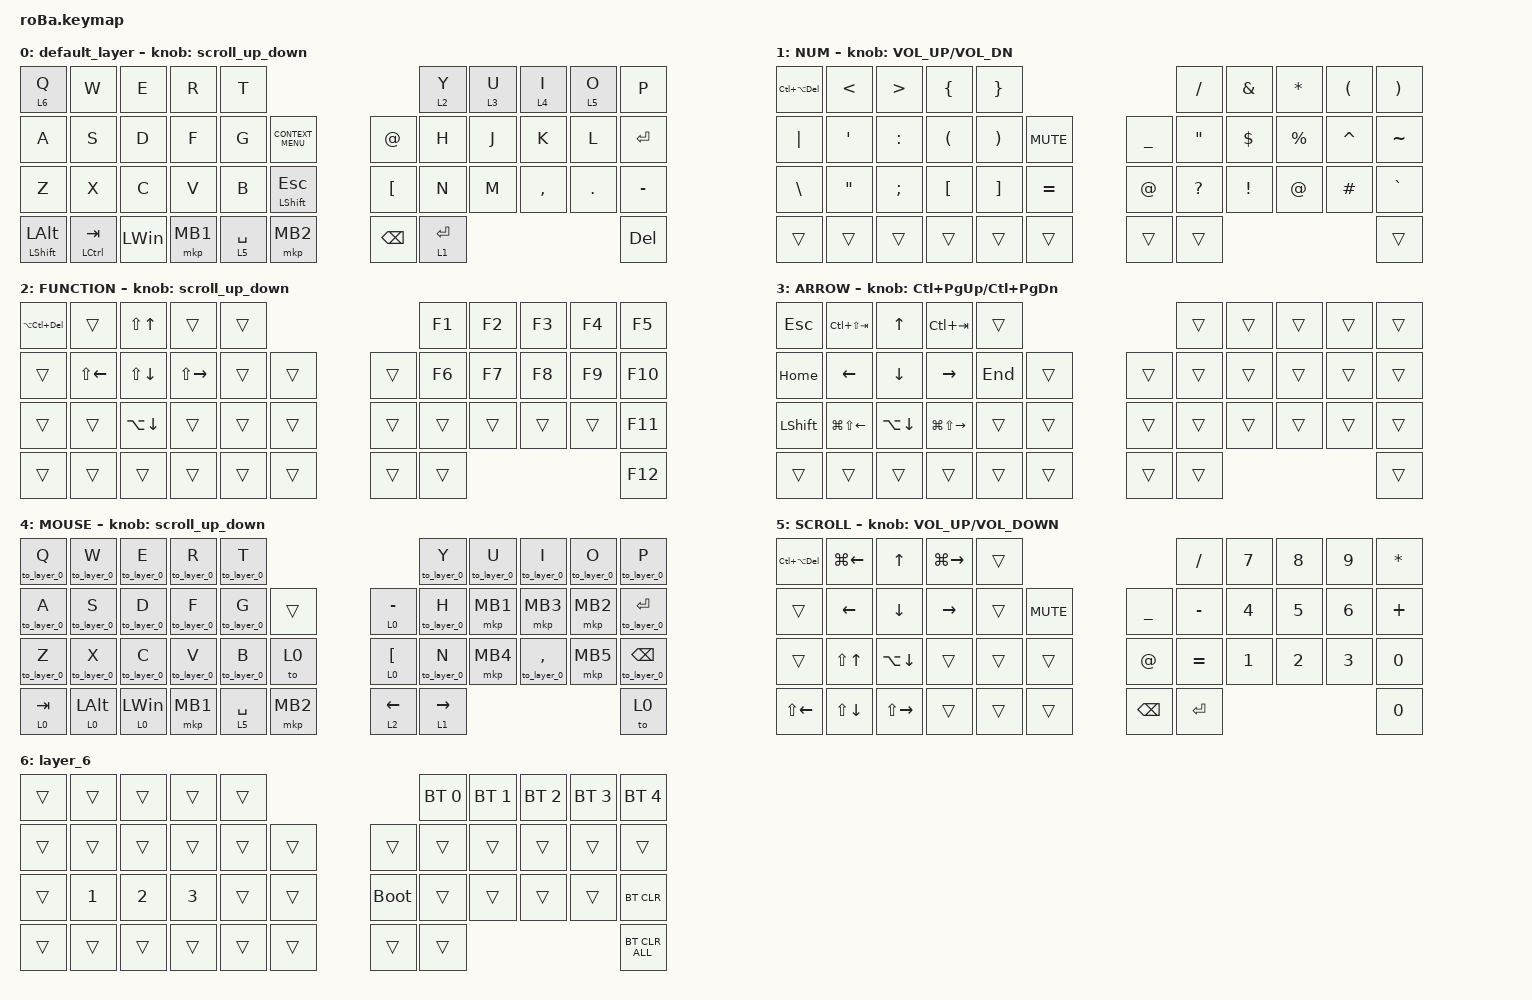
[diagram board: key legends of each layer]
#include <behaviors.dtsi>
#include <dt-bindings/zmk/bt.h>
#include <dt-bindings/zmk/keys.h>
#include <dt-bindings/zmk/pointing.h>

#define ZMK_POINTING_DEFAULT_SCRL_VAL 100
#define MOUSE 4
#define SCROLL 5
#define NUM 6

&mt {
    flavor = "balanced";
    quick-tap-ms = <0>;
};

/ {
    combos {
        compatible = "zmk,combos";

        jpn {
            bindings = <&kp LANG1>;
            key-positions = <37 38>;
        };

        eng {
            bindings = <&kp LANGUAGE_2>;
            key-positions = <38 39>;
        };

        layer1 {
            bindings = <&sl 1>;
            key-positions = <13 12>;
        };
    };

    macros {
        to_layer_0: to_layer_0 {
            compatible = "zmk,behavior-macro-one-param";
            #binding-cells = <1>;
            bindings = <&to 0 &macro_param_1to1 &kp MACRO_PLACEHOLDER>;
            label = "TO_LAYER_0";
        };
    };

    behaviors {
        scroll_up_down: behavior_sensor_rotate_mouse_wheel_up_down {
            compatible = "zmk,behavior-sensor-rotate";
            #sensor-binding-cells = <0>;
            bindings = <&msc SCRL_DOWN>, <&msc SCRL_UP>;

            // 追加: スクロールのタップ時間を設定 (20ms)

            tap-ms = <20>;
        };

        lt_to_layer_0: lt_to_layer_0 {
            compatible = "zmk,behavior-hold-tap";
            label = "LAYER_TAP_TO_0";
            bindings = <&mo>, <&to_layer_0>;

            #binding-cells = <2>;
            tapping-term-ms = <200>;
        };
    };

    keymap {
        compatible = "zmk,keymap";

        default_layer {
            bindings = <
&lt 6 Q                  &kp W          &kp E         &kp R     &kp T                                                     &lt 2 Y      &lt 3 U  &lt 4 I    &lt 5 O  &kp P
&kp A                    &kp S          &kp D         &kp F     &kp G        &kp K_CONTEXT_MENU         &kp AT            &kp H        &kp J    &kp K      &kp L    &kp ENTER
&kp Z                    &kp X          &kp C         &kp V     &kp B        &mt LEFT_SHIFT ESCAPE      &kp LEFT_BRACKET  &kp N        &kp M    &kp COMMA  &kp DOT  &kp MINUS
&mt LEFT_SHIFT LEFT_ALT  &mt LCTRL TAB  &kp LEFT_WIN  &mkp MB1  &lt 5 SPACE  &mkp MB2                   &kp BACKSPACE     &lt 1 ENTER                               &kp DELETE
            >;

            sensor-bindings = <&scroll_up_down>;
        };

        NUM {
            bindings = <
&kp LC(LA(DEL))  &kp LESS_THAN      &kp GREATER_THAN  &kp LEFT_BRACE        &kp RIGHT_BRACE                                        &kp SLASH          &kp AMPERSAND    &kp ASTERISK  &kp LEFT_PARENTHESIS  &kp RIGHT_PARENTHESIS
&kp PIPE         &kp SINGLE_QUOTE   &kp COLON         &kp LEFT_PARENTHESIS  &kp RIGHT_PARENTHESIS  &kp K_MUTE      &kp UNDERSCORE  &kp DOUBLE_QUOTES  &kp DOLLAR       &kp PERCENT   &kp CARET             &kp TILDE
&kp BACKSLASH    &kp DOUBLE_QUOTES  &kp SEMICOLON     &kp LEFT_BRACKET      &kp RIGHT_BRACKET      &kp EQUAL       &kp AT_SIGN     &kp QUESTION       &kp EXCLAMATION  &kp AT_SIGN   &kp HASH              &kp GRAVE
&trans           &trans             &trans            &trans                &trans                 &trans          &trans          &trans                                                                  &trans
            >;

            sensor-bindings = <&inc_dec_kp C_VOLUME_UP C_VOL_DN>;
        };

        FUNCTION {
            bindings = <
&kp LA(LC(DEL))  &trans              &kp LS(UP_ARROW)    &trans               &trans                      &kp F1  &kp F2  &kp F3  &kp F4  &kp F5
&trans           &kp LS(LEFT_ARROW)  &kp LS(DOWN_ARROW)  &kp LS(RIGHT_ARROW)  &trans  &trans      &trans  &kp F6  &kp F7  &kp F8  &kp F9  &kp F10
&trans           &trans              &kp LA(DOWN_ARROW)  &trans               &trans  &trans      &trans  &trans  &trans  &trans  &trans  &kp F11
&trans           &trans              &trans              &trans               &trans  &trans      &trans  &trans                          &kp F12
            >;

            sensor-bindings = <&scroll_up_down>;
        };

        ARROW {
            bindings = <
&kp ESCAPE      &kp LC(LS(TAB))         &kp UP_ARROW        &kp LC(TAB)              &trans                       &trans  &trans  &trans  &trans  &trans
&kp HOME        &kp LEFT_ARROW          &kp DOWN_ARROW      &kp RIGHT_ARROW          &kp END  &trans      &trans  &trans  &trans  &trans  &trans  &trans
&kp LEFT_SHIFT  &kp LG(LS(LEFT_ARROW))  &kp LA(DOWN_ARROW)  &kp LG(LS(RIGHT_ARROW))  &trans   &trans      &trans  &trans  &trans  &trans  &trans  &trans
&trans          &trans                  &trans              &trans                   &trans   &trans      &trans  &trans                          &trans
            >;

            sensor-bindings = <&inc_dec_kp LC(PAGE_UP) LC(PAGE_DOWN)>;
        };

        MOUSE {
            bindings = <
&to_layer_0 Q         &to_layer_0 W              &to_layer_0 E              &to_layer_0 R  &to_layer_0 T                                               &to_layer_0 Y      &to_layer_0 U  &to_layer_0 I      &to_layer_0 O  &to_layer_0 P
&to_layer_0 A         &to_layer_0 S              &to_layer_0 D              &to_layer_0 F  &to_layer_0 G  &trans        &lt_to_layer_0 0 MINUS         &to_layer_0 H      &mkp MB1       &mkp MB3           &mkp MB2       &to_layer_0 ENTER
&to_layer_0 Z         &to_layer_0 X              &to_layer_0 C              &to_layer_0 V  &to_layer_0 B  &to 0         &lt_to_layer_0 0 LEFT_BRACKET  &to_layer_0 N      &mkp MB4       &to_layer_0 COMMA  &mkp MB5       &to_layer_0 BACKSPACE
&lt_to_layer_0 0 TAB  &lt_to_layer_0 0 LEFT_ALT  &lt_to_layer_0 0 LEFT_WIN  &mkp MB1       &lt 5 SPACE    &mkp MB2      &lt 2 LEFT_ARROW               &lt 1 RIGHT_ARROW                                                   &to 0
            >;

            sensor-bindings = <&scroll_up_down>;
        };

        SCROLL {
            bindings = <
&kp LC(LA(DEL))     &kp LG(LEFT_ARROW)  &kp UP_ARROW         &kp LG(RIGHT_ARROW)  &trans                                 &kp SLASH  &kp N7  &kp N8  &kp N9  &kp ASTRK
&trans              &kp LEFT_ARROW      &kp DOWN             &kp RIGHT_ARROW      &trans  &kp K_MUTE      &kp UNDER      &kp MINUS  &kp N4  &kp N5  &kp N6  &kp PLUS
&trans              &kp LS(UP_ARROW)    &kp LA(DOWN_ARROW)   &trans               &trans  &trans          &kp AT_SIGN    &kp EQUAL  &kp N1  &kp N2  &kp N3  &kp NUMBER_0
&kp LS(LEFT_ARROW)  &kp LS(DOWN_ARROW)  &kp LS(RIGHT_ARROW)  &trans               &trans  &trans          &kp BACKSPACE  &kp ENTER                          &kp N0
            >;

            sensor-bindings = <&inc_dec_kp C_VOLUME_UP C_VOLUME_DOWN>;
        };

        layer_6 {
            bindings = <
&trans  &trans        &trans        &trans        &trans                           &bt BT_SEL 0  &bt BT_SEL 1  &bt BT_SEL 2  &bt BT_SEL 3  &bt BT_SEL 4
&trans  &trans        &trans        &trans        &trans  &trans      &trans       &trans        &trans        &trans        &trans        &trans
&trans  &kp NUMBER_1  &kp NUMBER_2  &kp NUMBER_3  &trans  &trans      &bootloader  &trans        &trans        &trans        &trans        &bt BT_CLR
&trans  &trans        &trans        &trans        &trans  &trans      &trans       &trans                                                  &bt BT_CLR_ALL
            >;
        };
    };
};
